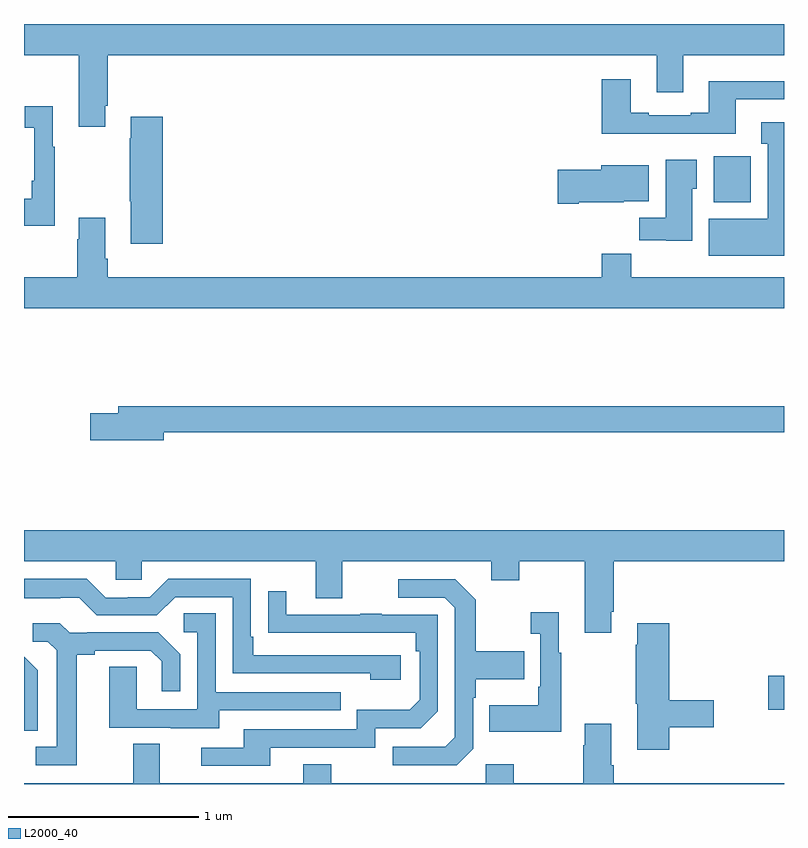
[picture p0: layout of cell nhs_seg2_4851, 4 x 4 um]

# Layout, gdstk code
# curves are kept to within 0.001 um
import gdstk
lib = gdstk.Library(unit=1e-6, precision=1e-09)
def R(c, l, rs):  # rectangles x0, y0, x1, y1
    for r in rs: c.add(gdstk.rectangle(r[:2], r[2:], *l))
def P(c, l, *ps):  # polygons
    for p in ps: c.add(gdstk.Polygon(p, *l))
L2000_40 = (2000, 40)

nhs_seg2_4851 = lib.new_cell('nhs_seg2_4851')
R(nhs_seg2_4851, L2000_40, [(378.918,644.191,379,644.369), (378.629,646.862,378.826,647.104)])
P(nhs_seg2_4851, L2000_40, [(375.427,647.371),(375.44,647.371),(375.44,647.636),(378.329,647.636),(378.329,647.442),(378.469,647.442),(378.469,647.636),(379,647.636),(379,647.8),(375,647.8),(375,647.636),(375.287,647.636),(375.287,647.259),(375.427,647.259)],
  [(378.745,647.403),(379,647.403),(379,647.5),(378.605,647.5),(378.605,647.332),(378.509,647.332),(378.509,647.319),(378.289,647.319),(378.289,647.332),(378.193,647.332),(378.193,647.509),(378.041,647.509),(378.041,647.222),(378.745,647.222)],
  [(375.163,647.155),(375.151,647.155),(375.151,647.368),(375.003,647.368),(375.003,647.255),(375.054,647.255),(375.054,646.975),(375.042,646.975),(375.042,646.879),(375,646.879),(375,646.739),(375.163,646.739)],
  [(375.731,647.311),(375.563,647.311),(375.563,647.198),(375.556,647.198),(375.556,646.867),(375.563,646.867),(375.563,646.644),(375.731,646.644)],
  [(379,647.284),(378.881,647.284),(378.881,647.171),(378.914,647.171),(378.914,646.774),(378.605,646.774),(378.605,646.58),(379,646.58)],
  [(378.517,646.932),(378.541,646.932),(378.541,647.086),(378.377,647.086),(378.377,646.78),(378.238,646.78),(378.238,646.662),(378.381,646.662),(378.381,646.658),(378.517,646.658)],
  [(377.92,646.862),(378.156,646.862),(378.156,646.868),(378.289,646.868),(378.289,647.056),(378.038,647.056),(378.038,647.033),(377.808,647.033),(377.808,646.855),(377.92,646.855)],
  [(379,646.468),(378.197,646.468),(378.197,646.592),(378.041,646.592),(378.041,646.468),(375.44,646.468),(375.44,646.564),(375.427,646.564),(375.427,646.78),(375.287,646.78),(375.287,646.667),(375.28,646.667),(375.28,646.468),(375,646.468),(375,646.304),(379,646.304)],
  [(375.736,645.652),(379,645.652),(379,645.788),(375.497,645.788),(375.497,645.752),(375.348,645.752),(375.348,645.61),(375.736,645.61)],
  [(378.091,644.707),(378.104,644.707),(378.104,644.972),(379,644.972),(379,645.136),(375,645.136),(375,644.972),(375.483,644.972),(375.483,644.874),(375.621,644.874),(375.621,644.972),(376.535,644.972),(376.535,644.778),(376.675,644.778),(376.675,644.972),(377.459,644.972),(377.459,644.873),(377.607,644.873),(377.607,644.972),(377.951,644.972),(377.951,644.595),(378.091,644.595)],
  [(376.984,644.478),(376.207,644.478),(376.207,644.575),(376.194,644.575),(376.194,644.88),(375.759,644.88),(375.663,644.784),(375.545,644.784),(375.545,644.781),(375.429,644.781),(375.329,644.881),(375,644.881),(375,644.777),(375.191,644.777),(375.191,644.781),(375.291,644.781),(375.384,644.688),(375.699,644.688),(375.795,644.784),(376.098,644.784),(376.098,644.382),(376.823,644.382),(376.823,644.348),(376.984,644.348)],
  [(377.364,643.986),(377.364,644.255),(377.377,644.255),(377.377,644.351),(377.633,644.351),(377.633,644.499),(377.377,644.499),(377.377,644.771),(377.271,644.877),(376.971,644.877),(376.971,644.781),(377.214,644.781),(377.268,644.727),(377.268,644.046),(377.217,643.995),(376.941,643.995),(376.941,643.899),(377.277,643.899)],
  [(376.297,643.992),(376.848,643.992),(376.848,644.094),(377.088,644.094),(377.178,644.184),(377.178,644.691),(376.883,644.691),(376.883,644.696),(376.771,644.696),(376.771,644.691),(376.381,644.691),(376.381,644.815),(376.285,644.815),(376.285,644.596),(377.062,644.595),(377.062,644.498),(377.082,644.498),(377.082,644.244),(377.029,644.191),(376.752,644.191),(376.752,644.088),(376.157,644.088),(376.157,643.992),(375.933,643.992),(375.933,643.896),(376.297,643.896)],
  [(377.827,644.491),(377.815,644.491),(377.815,644.704),(377.667,644.704),(377.667,644.591),(377.718,644.591),(377.718,644.311),(377.706,644.311),(377.706,644.215),(377.449,644.215),(377.449,644.075),(377.827,644.075)],
  [(376.027,644.187),(376.667,644.187),(376.667,644.283),(376.008,644.283),(376.008,644.699),(375.84,644.699),(375.84,644.598),(375.912,644.598),(375.912,644.193),(375.594,644.193),(375.594,644.417),(375.449,644.417),(375.449,644.097),(375.773,644.097),(375.773,644.093),(376.027,644.093)],
  [(375.277,644.48),(375.373,644.48),(375.373,644.502),(375.668,644.502),(375.725,644.445),(375.725,644.289),(375.822,644.289),(375.822,644.482),(375.706,644.598),(375.334,644.598),(375.334,644.595),(375.24,644.595),(375.188,644.647),(375.045,644.647),(375.045,644.55),(375.126,644.55),(375.173,644.503),(375.173,643.995),(375.063,643.995),(375.063,643.899),(375.277,643.899)],
  [(378.395,644.098),(378.631,644.098),(378.631,644.24),(378.395,644.24),(378.395,644.647),(378.227,644.647),(378.227,644.534),(378.22,644.534),(378.22,644.223),(378.227,644.223),(378.227,643.98),(378.395,643.98)],
  [(375.072,644.398),(375,644.47),(375,644.08),(375.072,644.08)],
  [(379,643.804),(378.104,643.804),(378.104,643.9),(378.091,643.9),(378.091,644.116),(377.951,644.116),(377.951,644.003),(377.944,644.003),(377.944,643.804),(377.577,643.804),(377.577,643.903),(377.43,643.903),(377.43,643.804),(376.617,643.804),(376.617,643.903),(376.469,643.903),(376.469,643.804),(375.715,643.804),(375.715,644.012),(375.575,644.012),(375.575,643.804),(375,643.804),(375,643.8),(379,643.8)])

lib.write_gds('nhs_seg2_4851.gds')
